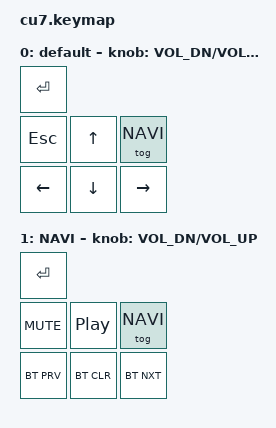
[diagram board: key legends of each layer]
#include <behaviors.dtsi>
#include <dt-bindings/zmk/keys.h>
#include <dt-bindings/zmk/bt.h>
#include <dt-bindings/zmk/reset.h>

#define DEFAULT 0
#define NAVI 1

#define NONE 0

&top_encoder {
    status = "okay";
};

/ {
  keymap {
    compatible = "zmk,keymap";
    sensors = <&top_encoder>;
    default {
      bindings = <
        &kp RETURN 
        &kp ESC &kp UP &tog NAVI
        &kp LEFT &kp DOWN &kp RIGHT 
      >;
      sensor-bindings = <&inc_dec_kp C_VOL_DN C_VOL_UP>;
    };
    NAVI {
      bindings = <
        &kp RETURN 
        &kp C_MUTE &kp C_PP &tog NAVI 
        &bt BT_PRV &bt BT_CLR &bt BT_NXT 
      >;
      sensor-bindings = <&inc_dec_kp C_VOL_DN C_VOL_UP>;
    };
  };
};
